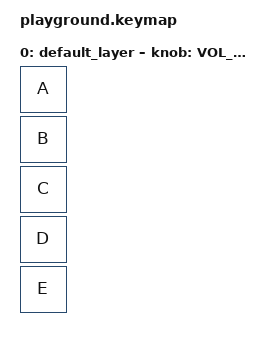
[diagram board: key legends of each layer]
 #include <behaviors.dtsi>
 #include <dt-bindings/zmk/keys.h>

 / {
     keymap {
         compatible = "zmk,keymap";
 
         default_layer {
             bindings = <
              &kp A
              &kp B
              &kp C
              &kp D
              &kp E
             >;

             sensor-bindings = <&inc_dec_kp C_VOL_UP C_VOL_DN>;
         };
     };
 };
